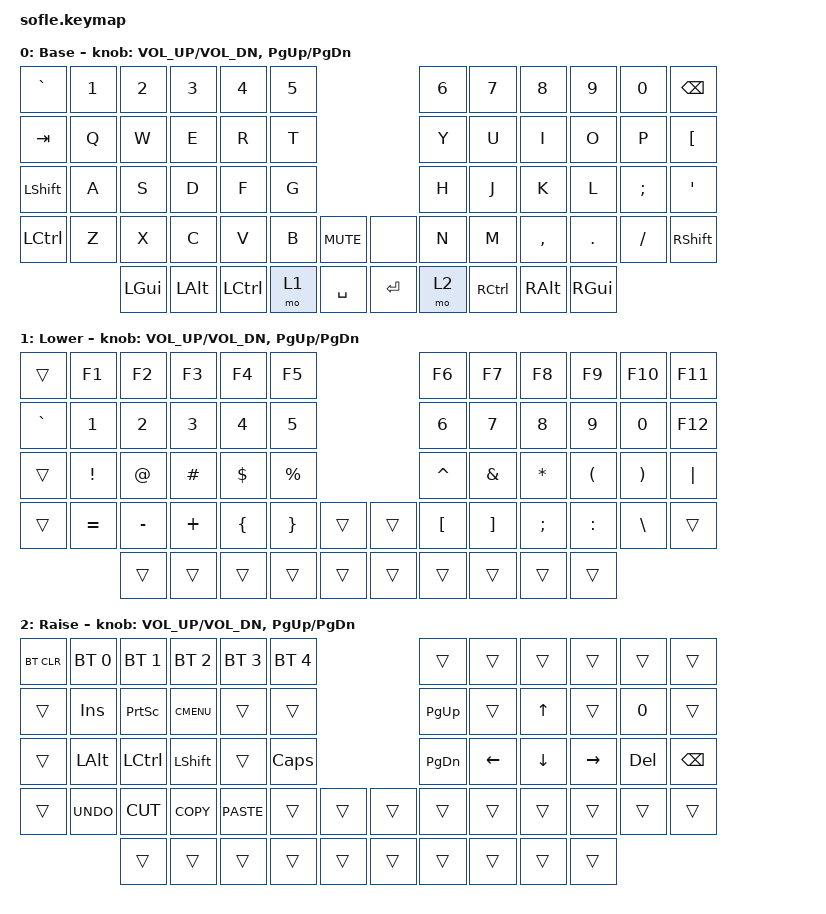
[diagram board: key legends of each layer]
#include <behaviors.dtsi>
#include <dt-bindings/zmk/keys.h>
#include <dt-bindings/zmk/bt.h>
#include <dt-bindings/zmk/ext_power.h>

/ {
    keymap {
        compatible = "zmk,keymap";

        default_layer {
            display-name = "Base";
            bindings = <
&kp GRAVE &kp N1 &kp N2   &kp N3   &kp N4    &kp N5                           &kp N6 &kp N7    &kp N8    &kp N9   &kp N0   &kp BSPC
&kp TAB   &kp Q  &kp W    &kp E    &kp R     &kp T                            &kp Y  &kp U     &kp I     &kp O    &kp P    &kp LBKT
&kp LSHFT &kp A  &kp S    &kp D    &kp F     &kp G                            &kp H  &kp J     &kp K     &kp L    &kp SEMI &kp SQT
&kp LCTRL &kp Z  &kp X    &kp C    &kp V     &kp B      &kp C_MUTE &none      &kp N  &kp M     &kp COMMA &kp DOT  &kp FSLH &kp RSHFT
                 &kp LGUI &kp LALT &kp LCTRL &mo 1      &kp SPACE  &kp RET    &mo 2  &kp RCTRL &kp RALT  &kp RGUI
            >;
            sensor-bindings = <&inc_dec_kp C_VOL_UP C_VOL_DN &inc_dec_kp PG_UP PG_DN>;
        };

        lower_layer {
            display-name = "Lower";
            bindings = <
&trans    &kp F1    &kp F2    &kp F3      &kp F4    &kp F5                    &kp F6    &kp F7   &kp F8   &kp F9    &kp F10   &kp F11
&kp GRAVE &kp N1    &kp N2    &kp N3      &kp N4    &kp N5                    &kp N6    &kp N7   &kp N8   &kp N9    &kp N0    &kp F12
&trans    &kp EXCL  &kp AT    &kp HASH    &kp DLLR  &kp PRCNT                 &kp CARET &kp AMPS &kp STAR &kp LPAR  &kp RPAR  &kp PIPE
&trans    &kp EQUAL &kp MINUS &kp PLUS    &kp LBRC  &kp RBRC   &trans &trans  &kp LBKT  &kp RBKT &kp SEMI &kp COLON &kp BSLH  &trans
                    &trans    &trans      &trans    &trans     &trans &trans  &trans    &trans   &trans   &trans
            >;
            sensor-bindings = <&inc_dec_kp C_VOL_UP C_VOL_DN &inc_dec_kp PG_UP PG_DN>;
        };

        raise_layer {
            display-name = "Raise";
            bindings = <
&bt BT_CLR &bt BT_SEL 0 &bt BT_SEL 1 &bt BT_SEL 2 &bt BT_SEL 3 &bt BT_SEL 4                  &trans    &trans    &trans   &trans    &trans  &trans
&trans     &kp INS      &kp PSCRN    &kp K_CMENU  &trans       &trans                        &kp PG_UP &trans    &kp UP   &trans    &kp N0  &trans
&trans     &kp LALT     &kp LCTRL    &kp LSHFT    &trans       &kp CLCK                      &kp PG_DN &kp LEFT  &kp DOWN &kp RIGHT &kp DEL &kp BSPC
&trans     &kp K_UNDO   &kp K_CUT    &kp K_COPY   &kp K_PASTE  &trans        &trans  &trans  &trans    &trans    &trans   &trans    &trans  &trans
                        &trans       &trans       &trans       &trans        &trans  &trans  &trans    &trans    &trans   &trans
            >;
            sensor-bindings = <&inc_dec_kp C_VOL_UP C_VOL_DN &inc_dec_kp PG_UP PG_DN>;
        };

        extra1 {
            status = "reserved";
        };

        extra2 {
            status = "reserved";
        };
    };
};
